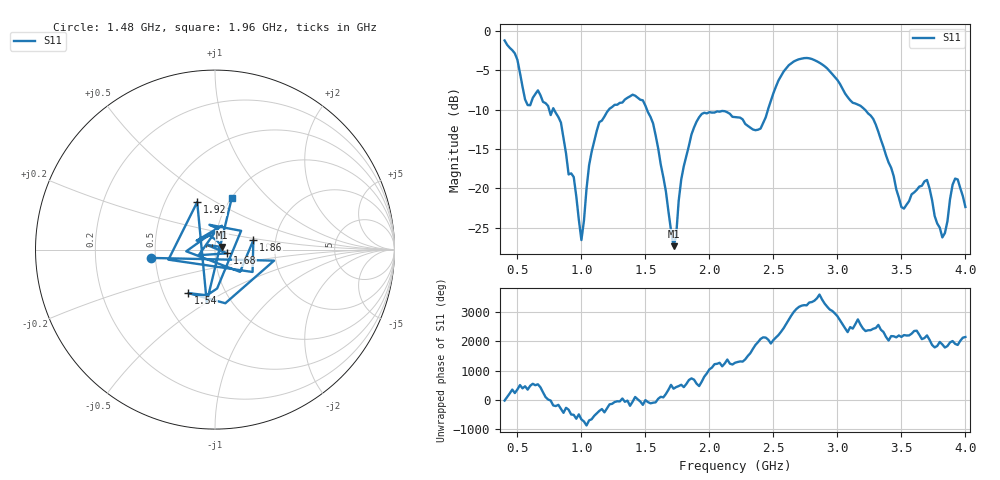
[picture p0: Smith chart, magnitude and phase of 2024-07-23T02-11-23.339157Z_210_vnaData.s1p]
!Created with skrf (http://scikit-rf.org).
# Hz S RI R 50.0
!freq ReS11 ImS11
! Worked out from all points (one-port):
!   181 points, 400 MHz to 4 GHz, reference 50 ohm
!   lowest |S11| = -27.3 dB at 1.72 GHz (marker M1), VSWR 1.09, Z = 54.2 + j1.56 ohm
!   |S11| at or under -10 dB: 785.9 MHz to 1.215 GHz (429 MHz wide, 42.9 % of centre); 1.512 GHz to 2.458 GHz (945.9 MHz wide, 47.7 % of centre); 3.214 GHz to end of sweep (the widest 3 of 4)
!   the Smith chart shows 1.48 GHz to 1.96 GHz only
!   S11 on the Smith chart (normalised r, x): 1.48 GHz: 0.47, -0.05; 1.54 GHz: 0.67, -0.35; 1.68 GHz: 1.15, -0.05; 1.86 GHz: 1.53, +0.17; 1.92 GHz: 0.72, +0.41; 1.96 GHz: 1.01, +0.63
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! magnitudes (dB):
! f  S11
! 400 MHz  -1.2
! 580 MHz  -9.4
! 660 MHz  -7.6
! 860 MHz  -13.6
! 940 MHz  -18.6
! 1 GHz  -26.6
! 1.06 GHz  -17.1
! 1.12 GHz  -12.7
! 1.3 GHz  -9.1
! 1.48 GHz  -8.8
! 1.54 GHz  -10.9
! 1.68 GHz  -22.9
! 1.72 GHz  -27.3
! 1.76 GHz  -21.6
! 1.86 GHz  -13.1
! 1.92 GHz  -11.0
! 1.96 GHz  -10.4
! 2.2 GHz  -10.9
! 2.4 GHz  -12.4
! 2.66 GHz  -3.9
! 3.1 GHz  -8.8
! 3.28 GHz  -11.2
! 3.5 GHz  -22.4
! 3.56 GHz  -21.6
! 3.7 GHz  -18.9
! 3.82 GHz  -26.2
! 3.92 GHz  -18.8
! 4 GHz  -22.4
